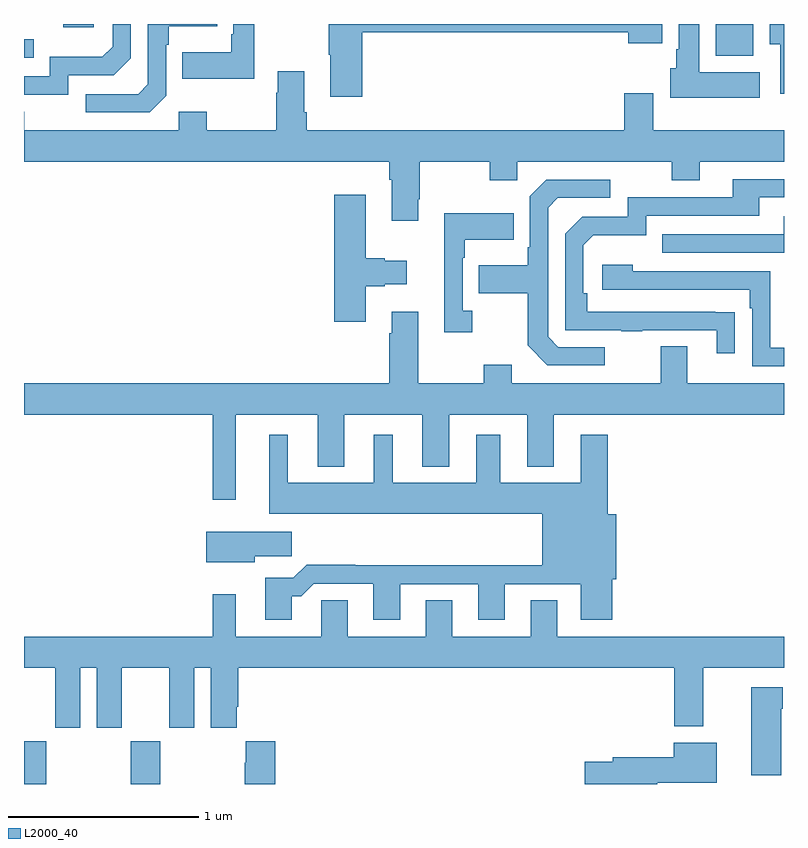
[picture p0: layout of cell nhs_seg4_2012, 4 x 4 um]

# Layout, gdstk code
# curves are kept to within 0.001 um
import gdstk
lib = gdstk.Library(unit=1e-6, precision=1e-09)
def R(c, l, rs):  # rectangles x0, y0, x1, y1
    for r in rs: c.add(gdstk.rectangle(r[:2], r[2:], *l))
def P(c, l, *ps):  # polygons
    for p in ps: c.add(gdstk.Polygon(p, *l))
L2000_40 = (2000, 40)

nhs_seg4_2012 = lib.new_cell('nhs_seg4_2012')
R(nhs_seg4_2012, L2000_40, [(215,770.9,215.118,771.124), (215.563,770.9,215.718,771.124), (215,774.723,215.051,774.819), (218.642,774.734,218.839,774.9), (215.207,774.884,215.368,774.9)])
P(nhs_seg4_2012, L2000_40, [(219,774.9),(218.924,774.9),(218.924,774.793),(218.981,774.793),(218.981,774.534),(219,774.534)],
  [(215.232,774.63),(215.472,774.63),(215.562,774.72),(215.562,774.9),(215.466,774.9),(215.466,774.78),(215.413,774.727),(215.136,774.727),(215.136,774.624),(215,774.624),(215,774.528),(215.232,774.528)],
  [(218.872,774.646),(218.554,774.646),(218.554,774.9),(218.447,774.9),(218.447,774.766),(218.432,774.766),(218.432,774.666),(218.402,774.666),(218.402,774.512),(218.872,774.512)],
  [(216.779,774.856),(218.18,774.856),(218.18,774.8),(218.359,774.8),(218.359,774.9),(216.604,774.9),(216.604,774.739),(216.611,774.739),(216.611,774.516),(216.779,774.516)],
  [(215.748,774.522),(215.748,774.791),(215.761,774.791),(215.761,774.887),(216.017,774.887),(216.017,774.9),(215.652,774.9),(215.652,774.582),(215.601,774.531),(215.325,774.531),(215.325,774.435),(215.661,774.435)],
  [(216.211,774.9),(216.102,774.9),(216.102,774.847),(216.09,774.847),(216.09,774.751),(215.833,774.751),(215.833,774.611),(216.211,774.611)],
  [(217.075,773.977),(217.083,773.977),(217.083,774.176),(217.45,774.176),(217.45,774.077),(217.596,774.077),(217.596,774.176),(218.41,774.176),(218.41,774.077),(218.557,774.077),(218.557,774.176),(219,774.176),(219,774.34),(218.311,774.34),(218.311,774.535),(218.159,774.535),(218.159,774.34),(216.488,774.34),(216.488,774.436),(216.475,774.436),(216.475,774.652),(216.335,774.652),(216.335,774.539),(216.328,774.539),(216.328,774.34),(215.961,774.34),(215.961,774.439),(215.814,774.439),(215.814,774.34),(215.001,774.34),(215.001,774.439),(215,774.439),(215,774.176),(216.923,774.176),(216.923,774.08),(216.935,774.08),(216.935,773.865),(217.075,773.865)],
  [(218.741,773.384),(217.964,773.385),(217.964,773.482),(217.944,773.482),(217.944,773.736),(217.997,773.789),(218.274,773.789),(218.274,773.892),(218.869,773.892),(218.869,773.988),(219,773.988),(219,774.084),(218.729,774.084),(218.729,773.988),(218.178,773.988),(218.178,773.886),(217.938,773.886),(217.848,773.796),(217.848,773.289),(218.143,773.289),(218.143,773.284),(218.255,773.284),(218.255,773.289),(218.645,773.289),(218.645,773.166),(218.741,773.166)],
  [(218.056,773.199),(217.812,773.199),(217.758,773.253),(217.758,773.934),(217.809,773.985),(218.086,773.985),(218.086,774.081),(217.749,774.081),(217.662,773.994),(217.662,773.725),(217.65,773.725),(217.65,773.629),(217.393,773.629),(217.393,773.482),(217.65,773.482),(217.65,773.209),(217.755,773.103),(218.056,773.103)],
  [(216.799,773.519),(216.899,773.519),(216.899,773.531),(217.015,773.531),(217.015,773.653),(216.899,773.653),(216.899,773.666),(216.799,773.666),(216.799,774.001),(216.632,774.001),(216.632,773.334),(216.799,773.334)],
  [(217.36,773.39),(217.308,773.39),(217.308,773.669),(217.321,773.669),(217.321,773.765),(217.577,773.765),(217.577,773.905),(217.211,773.905),(217.211,773.277),(217.36,773.277)],
  [(219,773.887),(218.999,773.887),(218.999,773.793),(218.359,773.793),(218.359,773.697),(219,773.697)],
  [(219,773.196),(218.928,773.196),(218.928,773.598),(218.204,773.598),(218.204,773.632),(218.043,773.632),(218.043,773.502),(218.819,773.502),(218.819,773.405),(218.832,773.405),(218.832,773.1),(219,773.1)],
  [(216.115,772.844),(216.545,772.844),(216.545,772.571),(216.685,772.571),(216.685,772.844),(217.097,772.844),(217.097,772.571),(217.237,772.571),(217.237,772.844),(217.649,772.844),(217.649,772.571),(217.789,772.571),(217.789,772.844),(219,772.844),(219,773.008),(218.491,773.008),(218.491,773.203),(218.351,773.203),(218.351,773.008),(217.567,773.008),(217.567,773.107),(217.42,773.107),(217.42,773.008),(217.075,773.008),(217.075,773.386),(216.935,773.386),(216.935,773.273),(216.923,773.273),(216.923,773.008),(215,773.008),(215,772.844),(215.994,772.844),(215.994,772.395),(216.115,772.395)],
  [(216.409,771.887),(216.458,771.887),(216.525,771.954),(216.839,771.954),(216.839,771.765),(216.979,771.765),(216.979,771.951),(217.391,771.951),(217.391,771.765),(217.531,771.765),(217.531,771.951),(217.931,771.951),(217.931,771.765),(218.096,771.765),(218.096,771.977),(218.116,771.977),(218.116,772.321),(218.072,772.321),(218.072,772.738),(217.931,772.738),(217.931,772.486),(217.507,772.486),(217.507,772.738),(217.379,772.738),(217.379,772.486),(216.94,772.486),(216.94,772.738),(216.842,772.738),(216.842,772.486),(216.388,772.486),(216.388,772.738),(216.29,772.738),(216.29,772.322),(217.727,772.322),(217.727,772.052),(216.743,772.052),(216.743,772.055),(216.488,772.055),(216.418,771.985),(216.269,771.985),(216.269,771.765),(216.409,771.765)],
  [(216.214,772.099),(216.409,772.099),(216.409,772.228),(215.96,772.228),(215.96,772.067),(216.214,772.067)],
  [(215.296,771.512),(215.384,771.512),(215.384,771.195),(215.515,771.195),(215.515,771.512),(215.765,771.512),(215.765,771.195),(215.896,771.195),(215.896,771.512),(215.984,771.512),(215.984,771.195),(216.121,771.195),(216.121,771.307),(216.128,771.307),(216.128,771.512),(218.423,771.512),(218.423,771.203),(218.575,771.203),(218.575,771.512),(219,771.512),(219,771.676),(217.807,771.676),(217.807,771.866),(217.667,771.866),(217.667,771.676),(217.255,771.676),(217.255,771.866),(217.115,771.866),(217.115,771.676),(216.703,771.676),(216.703,771.866),(216.564,771.866),(216.564,771.676),(216.115,771.676),(216.115,771.898),(215.994,771.898),(215.994,771.676),(215,771.676),(215,771.512),(215.165,771.512),(215.165,771.195),(215.296,771.195)],
  [(218.986,771.296),(218.994,771.296),(218.994,771.409),(218.828,771.409),(218.828,770.946),(218.986,770.946)],
  [(216.323,771.124),(216.167,771.124),(216.167,771.011),(216.163,771.011),(216.163,770.9),(216.323,770.9)],
  [(218.334,770.906),(218.647,770.906),(218.647,771.118),(218.42,771.118),(218.42,771.042),(218.099,771.042),(218.099,771.017),(217.95,771.017),(217.95,770.9),(218.334,770.9)])

lib.write_gds('nhs_seg4_2012.gds')
